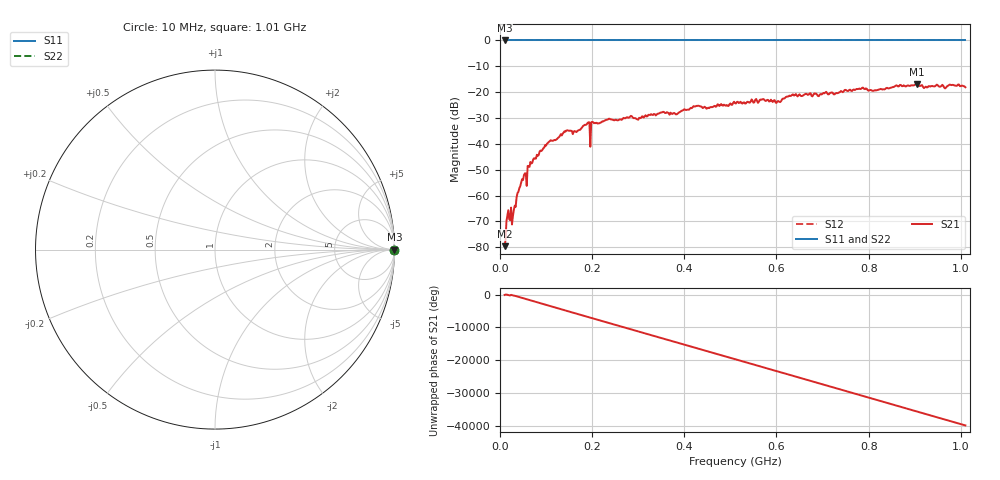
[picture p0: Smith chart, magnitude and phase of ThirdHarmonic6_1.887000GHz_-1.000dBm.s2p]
! 8/16/2025 10:47:36 PM
! C:\ANRITSUVNA\TEMP\TEMP.S2P
! CHANNEL.1
! TR.MEASUREMENT
! RAW.DATA
! RF.CORRECTION.OFF
! AVERAGING.OFF
! IF.BANDWIDTH: 5KHZ
! SWEEPTYPE:  FREQ.SWEEP(Linear)
! Reference Plane Port Info
! PORT:  PORT1  PORT2
! DISTANCE:  0  m  0  m
! TIME:  0  s  0  s
! PHASE.OFFSET:  0  deg.  0  deg.
! LOSS:  0  dB  0  dB
! REF.LOSS:  0  dB  0  dB
! REF.FREQ:  0  Hz  0  Hz
! Power Info
! POWER:  -20  dBm  -20  dBm
! EFF.POWER:  -20  dBm  -20  dBm
! SOURCE.ATTEN:  0  dB  0  dB
! TEST.ATTEN:  0  dB  0  dB
# GHZ S RI R 50.0
! FREQ.GHZ  S11RE  S11IM  S21RE  S21IM  S12RE  S12IM  S22RE  S22IM
!; PortSelection: Port_12
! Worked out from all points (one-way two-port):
!   501 points, 10 MHz to 1.01 GHz, reference 50 ohm
!   highest |S21| = -16.86 dB at 904 MHz (marker M1); lowest = -79.6 dB at 10 MHz (marker M2)
!   lowest |S11| = 0.0 dB at 10 MHz (marker M3)
!   |S11| at or under -10 dB: nowhere
!   |S22| runs from 0.0 to 0.0 dB; largest |S21 - S12| = 1.1
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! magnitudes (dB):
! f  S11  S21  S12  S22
! 10 MHz  0.0  -79.6  0.0  0.0
! 18 MHz  0.0  -65.6  0.0  0.0
! 30 MHz  0.0  -65.5  0.0  0.0
! 42 MHz  0.0  -57.1  0.0  0.0
! 64 MHz  0.0  -48.9  0.0  0.0
! 106 MHz  0.0  -39.3  0.0  0.0
! 142 MHz  0.0  -35.3  0.0  0.0
! 162 MHz  0.0  -35.0  0.0  0.0
! 178 MHz  0.0  -33.7  0.0  0.0
! 190 MHz  0.0  -31.9  0.0  0.0
! 192 MHz  0.0  -31.6  0.0  0.0
! 200 MHz  0.0  -31.5  0.0  0.0
! 202 MHz  0.0  -31.6  0.0  0.0
! 234 MHz  0.0  -30.6  0.0  0.0
! 344 MHz  0.0  -28.3  0.0  0.0
! 510 MHz  0.0  -24.2  0.0  0.0
! 604 MHz  0.0  -23.4  0.0  0.0
! 632 MHz  0.0  -21.4  0.0  0.0
! 678 MHz  0.0  -21.6  0.0  0.0
! 844 MHz  0.0  -18.5  0.0  0.0
! 904 MHz  0.0  -16.9  0.0  0.0
! 1.01 GHz  0.0  -18.1  0.0  0.0
